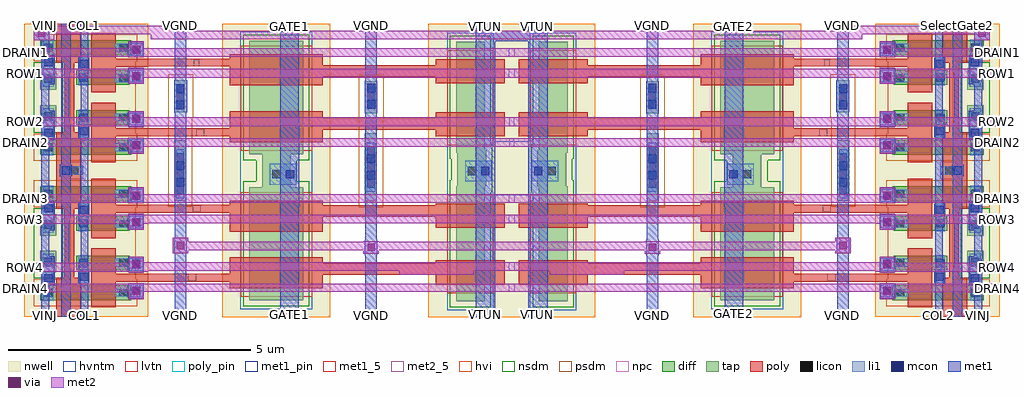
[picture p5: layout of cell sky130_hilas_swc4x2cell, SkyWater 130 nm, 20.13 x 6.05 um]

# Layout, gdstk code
from math import pi, radians
import gdstk
lib = gdstk.Library(unit=1e-6, precision=1e-09)
def R(c, l, rs):  # rectangles x0, y0, x1, y1
    for r in rs: c.add(gdstk.rectangle(r[:2], r[2:], *l))
def A(c, l, x, y, w, h, nx, ny, dx, dy):  # array of equal rectangles
    R(c, l, [(x+i*dx, y+j*dy, x+i*dx+w, y+j*dy+h) for i in range(nx) for j in range(ny)])
nwell = (64, 20)
diff = (65, 20)
tap = (65, 44)
poly_pin = (66, 16)
poly = (66, 20)
licon = (66, 44)
li1 = (67, 20)
mcon = (67, 44)
met1_5 = (68, 5)
met1_pin = (68, 16)
met1 = (68, 20)
via = (68, 44)
met2_5 = (69, 5)
met2 = (69, 20)
hvi = (75, 20)
nsdm = (93, 44)
psdm = (94, 20)
npc = (95, 20)
hvntm = (125, 20)
lvtn = (125, 44)

sky130_hilas_tuncap01 = lib.new_cell('sky130_hilas_TunCap01')
R(sky130_hilas_tuncap01, nwell, [(-14.51,-4,-12.78,-2.1)])
R(sky130_hilas_tuncap01, tap, [(-13.94,-3.67,-13.35,-2.47)])
R(sky130_hilas_tuncap01, poly, [(-14.36,-3.33,-12.93,-2.83)])
R(sky130_hilas_tuncap01, hvi, [(-14.51,-4,-12.78,-2.1)])
R(sky130_hilas_tuncap01, nsdm, [(-14.065,-3.795,-13.225,-2.345)])
R(sky130_hilas_tuncap01, hvntm, [(-14.125,-3.855,-13.165,-2.285)])
R(sky130_hilas_tuncap01, lvtn, [(-14.12,-3.51,-13.17,-2.65)])

sky130_hilas_fgvaractorc = lib.new_cell('sky130_hilas_FGVaractorCapacitor')
R(sky130_hilas_fgvaractorc, nwell, [(-9.57,-3.95,-7.34,-2.1)])
R(sky130_hilas_fgvaractorc, tap, [(-9.01,-3.61,-7.9,-2.44)])
R(sky130_hilas_fgvaractorc, poly, [(-9.41,-3.36,-7.49,-2.72)])
R(sky130_hilas_fgvaractorc, met1, [(-8.92,-3.95,-8.54,-2.09)])
R(sky130_hilas_fgvaractorc, hvi, [(-9.57,-3.95,-7.34,-2.1)])
R(sky130_hilas_fgvaractorc, nsdm, [(-9.135,-3.735,-7.775,-2.315)])
R(sky130_hilas_fgvaractorc, hvntm, [(-9.195,-3.795,-7.715,-2.255)])
R(sky130_hilas_fgvaractorc, lvtn, [(-9.19,-3.54,-7.72,-2.54)])

sky130_hilas_li2m2 = lib.new_cell('sky130_hilas_li2m2')
R(sky130_hilas_li2m2, li1, [(-0.13,-0.12,0.19,-0.09), (-0.13,-0.09,0.2,0.1), (-0.13,0.1,0.19,0.14)])
R(sky130_hilas_li2m2, mcon, [(-0.07,-0.08,0.1,0.09)])
R(sky130_hilas_li2m2, met1, [(-0.14,-0.15,0.18,0.17)])
R(sky130_hilas_li2m2, via, [(-0.055,-0.065,0.095,0.085)])
R(sky130_hilas_li2m2, met2, [(-0.14,-0.15,0.17,0.18)])

sky130_hilas_horizpcell0 = lib.new_cell('sky130_hilas_horizPcell01')
R(sky130_hilas_horizpcell0, nwell, [(-2.89,0.47,-0.34,0.48), (-2.89,0.48,-0.33,2.32)])
R(sky130_hilas_horizpcell0, diff, [(-2.54,0.81,-0.66,1.12), (-2.51,1.43,-1.41,1.73)])
R(sky130_hilas_horizpcell0, tap, [(-1,1.39,-0.66,1.83)])
R(sky130_hilas_horizpcell0, poly, [(-1.5,0.47,-1,1.27), (-2.22,0.66,-1.72,1.19), (-2.89,1.19,-1.72,1.36), (-1.37,1.27,-1.16,1.58), (-2.22,1.36,-1.72,1.88), (-1.37,1.58,-1.17,1.99)])
R(sky130_hilas_horizpcell0, licon, [(-2.465,0.88,-2.295,1.05), (-0.915,0.88,-0.745,1.05), (-1.64,1.49,-1.47,1.66), (-2.465,1.5,-2.295,1.67), (-0.915,1.515,-0.745,1.685)])
R(sky130_hilas_horizpcell0, li1, [(-0.93,0.8,-0.73,1.15), (-2.55,0.88,-2.21,1.05), (-0.93,1.15,-0.72,1.18), (-1.66,1.17,-1.46,1.74), (-0.94,1.18,-0.72,1.77), (-2.55,1.5,-2.21,1.67)])
R(sky130_hilas_horizpcell0, mcon, [(-0.92,1.18,-0.75,1.35), (-1.65,1.21,-1.48,1.38)])
R(sky130_hilas_horizpcell0, met1, [(-1.66,0.47,-1.5,1.15), (-1.29,0.47,-1.1,1.46), (-0.85,0.47,-0.69,1.12), (-0.96,1.12,-0.69,1.67), (-1.66,1.15,-1.46,1.17), (-1.68,1.17,-1.45,1.41), (-1.66,1.41,-1.46,1.63), (-1.27,1.46,-1.1,1.58), (-1.26,1.58,-1.1,2.32), (-1.66,1.63,-1.5,2.32), (-0.96,1.67,-0.68,1.72), (-0.85,1.72,-0.68,1.81), (-0.85,1.81,-0.69,2.32)])
R(sky130_hilas_horizpcell0, met2, [(-2.51,0.97,-0.33,1.15), (-2.89,1.4,-2.8,1.58), (-2.5,1.4,-0.33,1.58)])
R(sky130_hilas_horizpcell0, hvi, [(-2.89,0.47,-0.34,0.48), (-2.89,0.48,-0.33,2.32)])
R(sky130_hilas_horizpcell0, nsdm, [(-1.125,1.265,-0.535,1.955)])
R(sky130_hilas_horizpcell0, psdm, [(-2.665,0.685,-0.535,1.245), (-2.635,1.245,-1.285,1.855)])
sky130_hilas_horizpcell0.add(gdstk.Reference(sky130_hilas_li2m2, (-2.66,1.01), x_reflection=True))
sky130_hilas_horizpcell0.add(gdstk.Reference(sky130_hilas_li2m2, (-2.66,1.56), x_reflection=True))

sky130_hilas_wellcontact = lib.new_cell('sky130_hilas_wellContact')
R(sky130_hilas_wellcontact, nwell, [(-14.49,-4.4,-12.75,-2.56)])
R(sky130_hilas_wellcontact, tap, [(-13.94,-4.05,-13.35,-3.31)])
R(sky130_hilas_wellcontact, licon, [(-13.735,-3.82,-13.565,-3.65)])
R(sky130_hilas_wellcontact, li1, [(-14.06,-3.95,-13.51,-3.52)])
R(sky130_hilas_wellcontact, mcon, [(-14.01,-3.82,-13.84,-3.65)])
R(sky130_hilas_wellcontact, met1, [(-14.12,-4.41,-13.73,-2.55)])
R(sky130_hilas_wellcontact, hvi, [(-14.49,-4.4,-12.75,-2.56)])
R(sky130_hilas_wellcontact, nsdm, [(-14.065,-4.175,-13.225,-3.185)])

sky130_hilas_cellattempt = lib.new_cell('sky130_hilas_cellAttempt01')
R(sky130_hilas_cellattempt, nwell, [(1.12,-3.82,3.35,-3.81), (1.77,-3.81,2.15,-3.73), (6.32,-0.88,6.49,-0.72), (6.66,-0.88,6.67,-0.72), (6.32,-0.72,6.67,-0.71), (-2.63,1.12,-2.56,1.3), (1.12,2.22,3.35,2.23)])
R(sky130_hilas_cellattempt, tap, [(0.16,-1.43,0.41,-0.03), (4.09,-1.42,4.34,-0.17), (0.15,0.39,0.41,1.05), (4.07,0.41,4.34,1.07)])
R(sky130_hilas_cellattempt, poly_pin, [(3.89,-3.07,4.06,-2.92), (3.79,-1.66,3.96,-1.51), (3.72,-0.09,3.89,0.06), (3.83,1.36,3.94,1.49)])
R(sky130_hilas_cellattempt, poly, [(3.2,-3.09,4.88,-2.92), (-1.05,-2.95,1.32,-2.71), (-1.07,-1.75,1.3,-1.51), (3.2,-1.67,4.88,-1.5), (6.32,-0.88,6.49,-0.72), (6.65,-0.88,6.67,-0.72), (6.32,-0.72,6.67,-0.71), (3.19,-0.09,4.88,0.08), (-1.07,0.05,1.28,0.29), (-1.07,1.14,1.3,1.38), (3.19,1.35,4.88,1.47), (3.19,1.47,4.89,1.51)])
A(sky130_hilas_cellattempt, licon, 4.13, -1.29, 0.17, 0.17, 1, 3, 0, 0.34)
A(sky130_hilas_cellattempt, licon, 0.2, -1.15, 0.17, 0.17, 1, 3, 0, 0.34)
R(sky130_hilas_cellattempt, licon, [(6.32,-0.88,6.49,-0.71), (4.13,0.64,4.3,0.81), (0.19,0.65,0.36,0.82)])
R(sky130_hilas_cellattempt, li1, [(4.13,-1.37,4.3,-0.36), (0.2,-1.23,0.37,-0.22), (6.23,-0.88,6.67,-0.71), (4.13,0.47,4.3,0.98), (0.19,0.48,0.36,0.99)])
R(sky130_hilas_cellattempt, mcon, [(4.13,-1.12,4.3,-0.95), (0.2,-0.98,0.37,-0.81), (6.495,-0.88,6.665,-0.71), (4.13,-0.78,4.3,-0.61), (0.2,-0.64,0.37,-0.47), (4.13,0.47,4.3,0.64), (0.19,0.48,0.36,0.65), (4.13,0.81,4.3,0.98), (0.19,0.82,0.36,0.99)])
R(sky130_hilas_cellattempt, met1_5, [(0.16,-3.82,0.4,-3.76), (1.77,-3.82,2.15,-3.73), (4.09,-3.82,4.33,-3.76), (-2.28,2.11,-1.88,2.23), (1.77,2.13,2.15,2.23), (0.16,2.18,0.4,2.23), (4.09,2.18,4.33,2.23), (6.48,2.18,6.67,2.23), (6.92,2.18,7.08,2.23), (6.11,2.19,6.27,2.23)])
R(sky130_hilas_cellattempt, met1, [(-2.28,-3.82,-1.88,2.23), (0.16,-3.82,0.4,-2.54), (1.77,-3.82,2.15,-3.73), (4.09,-3.82,4.33,-2.5), (0.15,-2.54,0.41,-2.22), (4.08,-2.5,4.34,-2.18), (0.16,-2.22,0.4,0.39), (4.09,-2.18,4.33,0.41), (6.56,-0.95,6.67,-0.91), (6.46,-0.91,6.7,-0.68), (6.54,-0.68,6.67,-0.66), (0.15,0.39,0.41,1.05), (4.07,0.41,4.34,1.07), (0.16,1.05,0.4,2.23), (4.09,1.07,4.33,2.23), (1.77,2.13,2.15,2.23), (6.48,2.18,6.67,2.23), (6.92,2.18,7.08,2.23), (6.11,2.19,6.27,2.23)])
R(sky130_hilas_cellattempt, via, [(0.205,-2.455,0.355,-2.305), (4.135,-2.415,4.285,-2.265)])
R(sky130_hilas_cellattempt, met2_5, [(-2.62,-3.3,-2.56,-3.13), (-2.62,-2.86,-2.56,-2.69), (-2.62,-1.88,-2.56,-1.71), (-2.62,-1.46,-2.56,-1.29), (-2.64,-0.31,-2.57,-0.13), (-2.64,0.12,-2.57,0.3), (-2.63,1.12,-2.56,1.3), (-2.63,1.55,-2.56,1.73)])
R(sky130_hilas_cellattempt, met2, [(-2.62,-3.3,5,-3.13), (-1.84,-2.95,-0.3,-2.86), (-2.62,-2.86,5,-2.69), (0.12,-2.51,0.44,-2.44), (4.05,-2.5,4.37,-2.44), (0.12,-2.44,4.37,-2.26), (0.12,-2.26,0.44,-2.25), (4.05,-2.26,4.37,-2.18), (-2.62,-1.88,5,-1.71), (-2.62,-1.46,5,-1.29), (-2.64,-0.31,5,-0.13), (-2.64,0.12,5,0.24), (-2.64,0.24,4.97,0.3), (-2.63,1.12,7.1,1.3), (-2.63,1.55,5,1.66), (-2.63,1.66,4.97,1.73)])
R(sky130_hilas_cellattempt, hvi, [(1.12,-3.82,3.35,-3.81), (1.12,2.22,3.35,2.23)])
R(sky130_hilas_cellattempt, nsdm, [(6.645,-2.325,7.235,-2.265), (6.645,0.675,7.235,0.745)])
R(sky130_hilas_cellattempt, psdm, [(5.135,-2.425,6.485,-2.165), (0.035,-1.555,0.535,0.265), (3.965,-1.545,4.465,0.285), (0.025,0.265,0.535,1.175), (3.945,0.285,4.465,1.195), (5.135,0.575,6.485,0.845)])
R(sky130_hilas_cellattempt, npc, [(6.22,-0.98,6.59,-0.61)])
R(sky130_hilas_cellattempt, hvntm, [(-2.275,-1.305,-2.245,-0.935), (1.495,-0.955,2.975,-0.645), (-2.275,-0.935,-1.285,-0.615), (-2.275,-0.615,-2.245,-0.195)])
R(sky130_hilas_cellattempt, lvtn, [(-2.24,-2.47,-1.29,-2.16), (1.5,-2.4,2.97,-2.24), (-2.24,0.59,-1.29,0.82), (1.5,0.61,2.97,0.78)])
sky130_hilas_cellattempt.add(gdstk.Reference(sky130_hilas_tuncap01, (11.88,0.18)))
sky130_hilas_cellattempt.add(gdstk.Reference(sky130_hilas_tuncap01, (11.88,1.35)))
sky130_hilas_cellattempt.add(gdstk.Reference(sky130_hilas_fgvaractorc, (10.69,0.14)))
sky130_hilas_cellattempt.add(gdstk.Reference(sky130_hilas_fgvaractorc, (10.69,1.3)))
sky130_hilas_cellattempt.add(gdstk.Reference(sky130_hilas_horizpcell0, (7.77,-0.31), x_reflection=True))
sky130_hilas_cellattempt.add(gdstk.Reference(sky130_hilas_horizpcell0, (7.77,-4.28)))
sky130_hilas_cellattempt.add(gdstk.Reference(sky130_hilas_wellcontact, (11.85,2.93)))
sky130_hilas_cellattempt.add(gdstk.Reference(sky130_hilas_tuncap01, (11.88,3.24)))
sky130_hilas_cellattempt.add(gdstk.Reference(sky130_hilas_fgvaractorc, (10.69,3.15)))
sky130_hilas_cellattempt.add(gdstk.Reference(sky130_hilas_wellcontact, (15.88,2.86)))
sky130_hilas_cellattempt.add(gdstk.Reference(sky130_hilas_horizpcell0, (7.77,-1.28)))
sky130_hilas_cellattempt.add(gdstk.Reference(sky130_hilas_tuncap01, (11.88,4.33)))
sky130_hilas_cellattempt.add(gdstk.Reference(sky130_hilas_fgvaractorc, (10.69,4.32)))
sky130_hilas_cellattempt.add(gdstk.Reference(sky130_hilas_horizpcell0, (7.77,2.7), x_reflection=True))
sky130_hilas_cellattempt.add(gdstk.Label('FG1', (3.885,1.425), layer=66, texttype=16))
sky130_hilas_cellattempt.add(gdstk.Label('FG2', (3.805,-0.015), layer=66, texttype=16))
sky130_hilas_cellattempt.add(gdstk.Label('FG3', (3.875,-1.585), layer=66, texttype=16))
sky130_hilas_cellattempt.add(gdstk.Label('FG4', (3.975,-2.995), layer=66, texttype=16))
sky130_hilas_cellattempt.add(gdstk.Label('VTUN', (-2.08,2.17), layer=68, texttype=5))
sky130_hilas_cellattempt.add(gdstk.Label('VINJ', (7,2.205), layer=68, texttype=5))
sky130_hilas_cellattempt.add(gdstk.Label('COLSEL1', (6.575,2.205), layer=68, texttype=5))
sky130_hilas_cellattempt.add(gdstk.Label('COL1', (6.19,2.21), layer=68, texttype=5))
sky130_hilas_cellattempt.add(gdstk.Label('GATE1', (1.96,2.18), layer=68, texttype=5))
sky130_hilas_cellattempt.add(gdstk.Label('GATE1', (1.96,-3.775), layer=68, texttype=5))
sky130_hilas_cellattempt.add(gdstk.Label('DRAIN1', (-2.595,1.64), layer=69, texttype=5))
sky130_hilas_cellattempt.add(gdstk.Label('ROW3', (-2.59,-1.795), layer=69, texttype=5))
sky130_hilas_cellattempt.add(gdstk.Label('DRAIN2', (-2.605,-0.22), layer=69, texttype=5))
sky130_hilas_cellattempt.add(gdstk.Label('ROW2', (-2.605,0.21), layer=69, texttype=5))
sky130_hilas_cellattempt.add(gdstk.Label('DRAIN3', (-2.59,-1.375), layer=69, texttype=5))
sky130_hilas_cellattempt.add(gdstk.Label('ROW4', (-2.59,-2.775), layer=69, texttype=5))
sky130_hilas_cellattempt.add(gdstk.Label('DRAIN4', (-2.59,-3.215), layer=69, texttype=5))
sky130_hilas_cellattempt.add(gdstk.Label('ROW1', (-2.595,1.21), layer=69, texttype=5))
sky130_hilas_cellattempt.add(gdstk.Label('VGND', (0.28,2.205), layer=68, texttype=5))
sky130_hilas_cellattempt.add(gdstk.Label('VGND', (4.21,2.205), layer=68, texttype=5))
sky130_hilas_cellattempt.add(gdstk.Label('VGND', (4.21,-3.79), layer=68, texttype=5))
sky130_hilas_cellattempt.add(gdstk.Label('VGND', (0.28,-3.79), layer=68, texttype=5))

sky130_hilas_swc4x2cell = lib.new_cell('sky130_hilas_swc4x2cell')
R(sky130_hilas_swc4x2cell, met1_5, [(-9.68,-0.04,-9.52,0.02), (-6.93,-0.04,-6.69,0.04), (-4.75,-0.04,-4.37,0.05), (-3,-0.04,-2.76,0.03), (-0.72,-0.04,-0.32,0.08), (0.36,-0.04,0.76,0.08), (2.8,-0.04,3.04,0.03), (4.41,-0.04,4.79,0.11), (6.73,-0.04,6.97,0.02), (-9.27,-0.03,-9.08,0.03), (-8.87,-0.03,-8.71,0.03), (8.75,-0.03,8.91,0.03), (9.12,-0.03,9.31,0.03), (9.56,-0.03,9.72,0.03), (-0.72,5.88,-0.32,6.01), (-4.75,5.91,-4.37,6.01), (0.36,5.91,0.76,6.01), (4.41,5.91,4.79,6.01), (6.73,5.94,6.97,6.01), (-6.93,5.95,-6.69,6.01), (-3,5.95,-2.76,6.01), (-9.68,5.96,-9.52,6.01), (-9.27,5.96,-9.08,6.01), (-8.87,5.96,-8.71,6.01), (2.8,5.96,3.04,6.01), (8.75,5.96,8.91,6.01), (9.56,5.96,9.72,6.01)])
R(sky130_hilas_swc4x2cell, met1_pin, [(9.12,5.96,9.31,6.01)])
R(sky130_hilas_swc4x2cell, met1, [(-9.68,-0.04,-9.52,0.02), (-6.93,-0.04,-6.69,0.04), (-4.75,-0.04,-4.37,0.05), (-3,-0.04,-2.76,0.03), (-0.72,-0.04,-0.32,0.08), (0.36,-0.04,0.76,0.08), (2.8,-0.04,3.04,0.03), (4.41,-0.04,4.79,0.11), (6.73,-0.04,6.97,0.02), (-9.27,-0.03,-9.08,0.03), (-8.87,-0.03,-8.71,0.03), (8.75,-0.03,8.91,0.03), (9.12,-0.03,9.31,0.03), (9.56,-0.03,9.72,0.03), (-0.32,5.65,0.36,5.87), (-9.84,5.67,-9.52,5.97), (9.56,5.67,9.88,5.97), (-0.72,5.88,-0.32,6.01), (-4.75,5.91,-4.37,6.01), (0.36,5.91,0.76,6.01), (4.41,5.91,4.79,6.01), (-6.93,5.92,-6.69,6.01), (6.73,5.94,6.97,6.01), (-3,5.95,-2.76,6.01), (-9.27,5.96,-9.08,6.01), (-8.87,5.96,-8.71,6.01), (2.8,5.96,3.04,6.01), (8.75,5.96,8.91,6.01), (9.12,5.96,9.31,6.01), (-9.68,5.97,-9.52,6.01), (9.56,5.97,9.72,6.01)])
R(sky130_hilas_swc4x2cell, via, [(-9.755,5.745,-9.605,5.895), (9.645,5.745,9.795,5.895)])
R(sky130_hilas_swc4x2cell, met2_5, [(-10.04,0.47,-9.97,0.65), (10,0.47,10.09,0.65), (-10.04,0.9,-9.97,1.08), (10,0.9,10.09,1.08), (-10.04,1.89,-9.97,2.07), (10,1.89,10.09,2.07), (-10.04,2.32,-9.97,2.5), (10,2.32,10.09,2.5), (-10.04,3.47,-9.97,3.65), (10,3.47,10.09,3.65), (-10.04,3.9,-9.97,4.09), (10,3.9,10.09,4.08), (-10.04,4.9,-9.97,5.09), (9.99,4.9,10.08,5.08), (-10.04,5.33,-9.97,5.52), (9.99,5.33,10.08,5.51)])
R(sky130_hilas_swc4x2cell, met2, [(-10.04,0.47,-9.97,0.65), (10,0.47,10.09,0.65), (-10.04,0.9,-9.97,1.08), (10,0.9,10.09,1.08), (-3.34,1.34,3.42,1.52), (-10.04,1.89,-9.97,2.07), (10,1.89,10.09,2.07), (-10.04,2.32,-9.97,2.5), (10,2.32,10.09,2.5), (-10.04,3.47,-9.91,3.65), (9.95,3.47,10.09,3.65), (-10.04,3.9,-9.89,4.09), (9.96,3.9,10.09,4.08), (-10.04,4.9,-9.9,5.09), (9.99,4.9,10.08,5.08), (-10.04,5.33,-9.9,5.52), (9.99,5.33,10.08,5.51), (-9.84,5.67,-9.42,5.79), (9.56,5.67,9.88,5.79), (-7.43,5.69,7.25,5.79), (-9.84,5.79,9.88,5.87), (-9.84,5.87,-6.99,5.97), (7.05,5.87,9.88,5.97)])
R(sky130_hilas_swc4x2cell, hvntm, [(-0.325,2.475,0.365,3.585)])
sky130_hilas_swc4x2cell.add(gdstk.Reference(sky130_hilas_cellattempt, (2.64,3.78)))
sky130_hilas_swc4x2cell.add(gdstk.Reference(sky130_hilas_cellattempt, (-2.6,3.78), rotation=pi, x_reflection=True))
sky130_hilas_swc4x2cell.add(gdstk.Label('SelectGate2', (9.215,5.985), layer=68, texttype=16))
sky130_hilas_swc4x2cell.add(gdstk.Label('GATE2', (4.6,5.96), layer=68, texttype=5))
sky130_hilas_swc4x2cell.add(gdstk.Label('GATE2', (4.6,0.035), layer=68, texttype=5))
sky130_hilas_swc4x2cell.add(gdstk.Label('VTUN', (-0.52,0.02), layer=68, texttype=5))
sky130_hilas_swc4x2cell.add(gdstk.Label('VTUN', (0.56,0.02), layer=68, texttype=5))
sky130_hilas_swc4x2cell.add(gdstk.Label('VTUN', (0.56,5.96), layer=68, texttype=5))
sky130_hilas_swc4x2cell.add(gdstk.Label('VTUN', (-0.52,5.945), layer=68, texttype=5))
sky130_hilas_swc4x2cell.add(gdstk.Label('GATE1', (-4.56,5.96), layer=68, texttype=5))
sky130_hilas_swc4x2cell.add(gdstk.Label('GATE1', (-4.56,0.005), layer=68, texttype=5))
sky130_hilas_swc4x2cell.add(gdstk.Label('VINJ', (9.64,0), layer=68, texttype=5))
sky130_hilas_swc4x2cell.add(gdstk.Label('VINJ', (9.64,5.985), layer=68, texttype=5))
sky130_hilas_swc4x2cell.add(gdstk.Label('VINJ', (-9.6,5.985), layer=68, texttype=5))
sky130_hilas_swc4x2cell.add(gdstk.Label('VINJ', (-9.6,-0.01), layer=68, texttype=5))
sky130_hilas_swc4x2cell.add(gdstk.Label('GATESELECT1', (-9.175,5.985), layer=68, texttype=5))
sky130_hilas_swc4x2cell.add(gdstk.Label('GATESELECT1', (-9.175,0), layer=68, texttype=5))
sky130_hilas_swc4x2cell.add(gdstk.Label('GATESELECT2', (9.215,0), layer=68, texttype=5))
sky130_hilas_swc4x2cell.add(gdstk.Label('COL1', (-8.79,5.985), layer=68, texttype=5))
sky130_hilas_swc4x2cell.add(gdstk.Label('COL1', (-8.79,0), layer=68, texttype=5))
sky130_hilas_swc4x2cell.add(gdstk.Label('COL2', (8.83,0), layer=68, texttype=5))
sky130_hilas_swc4x2cell.add(gdstk.Label('COL2', (8.83,5.985), layer=68, texttype=5))
sky130_hilas_swc4x2cell.add(gdstk.Label('ROW1', (-10.005,4.995), layer=69, texttype=5))
sky130_hilas_swc4x2cell.add(gdstk.Label('ROW1', (10.035,4.99), layer=69, texttype=5))
sky130_hilas_swc4x2cell.add(gdstk.Label('ROW2', (-10.005,3.995), layer=69, texttype=5))
sky130_hilas_swc4x2cell.add(gdstk.Label('ROW2', (10.045,3.99), layer=69, texttype=5))
sky130_hilas_swc4x2cell.add(gdstk.Label('DRAIN1', (-10.005,5.425), layer=69, texttype=5))
sky130_hilas_swc4x2cell.add(gdstk.Label('DRAIN1', (10.035,5.42), layer=69, texttype=5))
sky130_hilas_swc4x2cell.add(gdstk.Label('DRAIN2', (-10.005,3.56), layer=69, texttype=5))
sky130_hilas_swc4x2cell.add(gdstk.Label('DRAIN2', (10.045,3.56), layer=69, texttype=5))
sky130_hilas_swc4x2cell.add(gdstk.Label('DRAIN3', (-10.005,2.41), layer=69, texttype=5))
sky130_hilas_swc4x2cell.add(gdstk.Label('DRAIN3', (10.045,2.41), layer=69, texttype=5))
sky130_hilas_swc4x2cell.add(gdstk.Label('ROW3', (-10.005,1.98), layer=69, texttype=5))
sky130_hilas_swc4x2cell.add(gdstk.Label('ROW3', (10.045,1.98), layer=69, texttype=5))
sky130_hilas_swc4x2cell.add(gdstk.Label('ROW4', (-10.005,0.99), layer=69, texttype=5))
sky130_hilas_swc4x2cell.add(gdstk.Label('ROW4', (10.045,0.99), layer=69, texttype=5))
sky130_hilas_swc4x2cell.add(gdstk.Label('DRAIN4', (-10.005,0.56), layer=69, texttype=5))
sky130_hilas_swc4x2cell.add(gdstk.Label('DRAIN4', (10.045,0.56), layer=69, texttype=5))
sky130_hilas_swc4x2cell.add(gdstk.Label('VGND', (-6.81,5.98), layer=68, texttype=5))
sky130_hilas_swc4x2cell.add(gdstk.Label('VGND', (-6.81,0), layer=68, texttype=5))
sky130_hilas_swc4x2cell.add(gdstk.Label('VGND', (-2.88,-0.005), layer=68, texttype=5))
sky130_hilas_swc4x2cell.add(gdstk.Label('VGND', (-2.88,5.98), layer=68, texttype=5))
sky130_hilas_swc4x2cell.add(gdstk.Label('VGND', (2.92,-0.005), layer=68, texttype=5))
sky130_hilas_swc4x2cell.add(gdstk.Label('VGND', (6.85,-0.01), layer=68, texttype=5))
sky130_hilas_swc4x2cell.add(gdstk.Label('VGND', (2.92,5.985), layer=68, texttype=5))
sky130_hilas_swc4x2cell.add(gdstk.Label('VGND', (6.85,5.975), layer=68, texttype=5))

lib.write_gds('sky130_hilas_swc4x2cell.gds')
